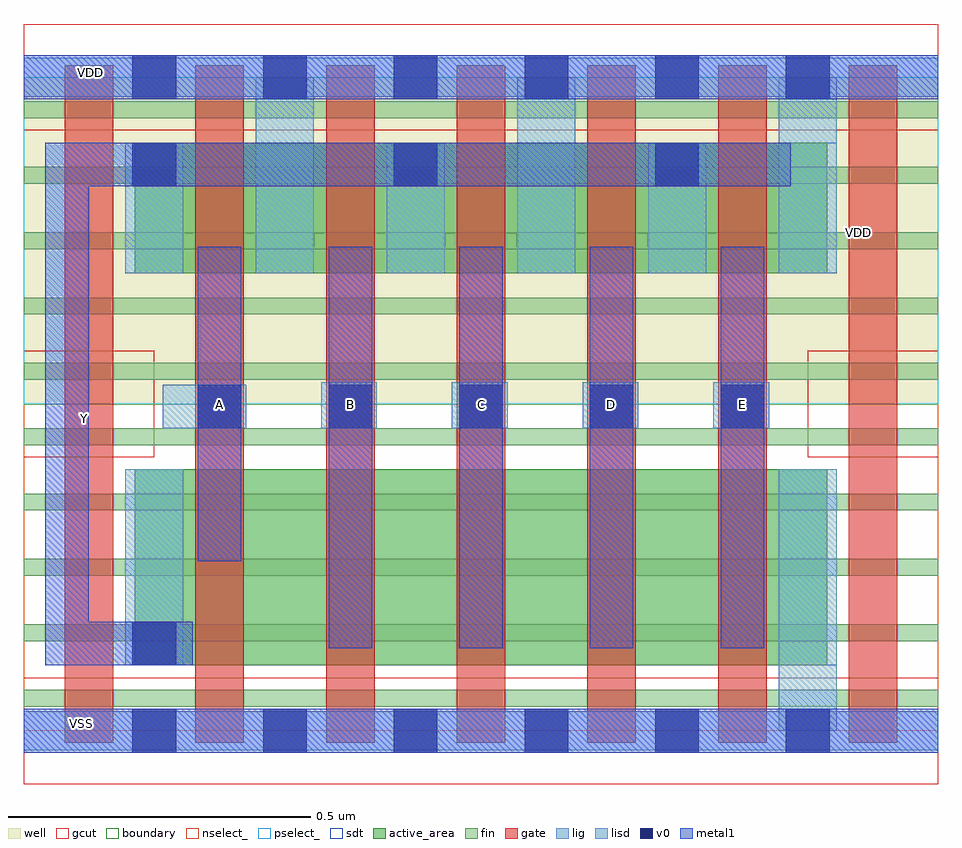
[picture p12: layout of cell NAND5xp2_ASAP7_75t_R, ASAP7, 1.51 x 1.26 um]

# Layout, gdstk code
import gdstk
lib = gdstk.Library(unit=1e-6, precision=2.5e-10)
def R(c, l, rs):  # rectangles x0, y0, x1, y1
    for r in rs: c.add(gdstk.rectangle(r[:2], r[2:], *l))
def A(c, l, x, y, w, h, nx, ny, dx, dy):  # array of equal rectangles
    R(c, l, [(x+i*dx, y+j*dy, x+i*dx+w, y+j*dy+h) for i in range(nx) for j in range(ny)])
def P(c, l, *ps):  # polygons
    for p in ps: c.add(gdstk.Polygon(p, *l))
well = (1, 0)
fin = (2, 0)
gate = (7, 0)
gcut = (10, 0)
active_area = (11, 0)
nselect_ = (12, 0)
pselect_ = (13, 0)
lig = (16, 0)
lisd = (17, 0)
v0 = (18, 0)
metal1 = (19, 0)
sdt = (88, 0)
boundary = (100, 0)

nand5xp2_asap7_75t_r = lib.new_cell('NAND5xp2_ASAP7_75t_R')
R(nand5xp2_asap7_75t_r, well, [(0,0.54,1.512,1.08)])
A(nand5xp2_asap7_75t_r, fin, 0, 0.04, 1.512, 0.028, 1, 10, 0, 0.108)
A(nand5xp2_asap7_75t_r, gate, 0.068, -0.02, 0.08, 1.12, 7, 1, 0.216, 0)
R(nand5xp2_asap7_75t_r, gcut, [(0,-0.088,1.512,0.088), (0,0.452,0.216,0.628), (1.296,0.452,1.512,0.628), (0,0.992,1.512,1.168)])
R(nand5xp2_asap7_75t_r, active_area, [(0.184,0.108,1.328,0.432), (0.184,0.756,1.328,0.972)])
R(nand5xp2_asap7_75t_r, nselect_, [(0,0,1.512,0.54)])
R(nand5xp2_asap7_75t_r, pselect_, [(0,0.54,1.512,1.08)])
A(nand5xp2_asap7_75t_r, lig, 0.492, 0.5, 0.092, 0.076, 4, 1, 0.216, 0)
R(nand5xp2_asap7_75t_r, lig, [(0,-0.032,1.512,0.032), (0.23,0.5,0.368,0.572), (0,1.048,1.512,1.112)])
A(nand5xp2_asap7_75t_r, lisd, 0.168, 0.756, 0.096, 0.216, 3, 1, 0.432, 0)
A(nand5xp2_asap7_75t_r, lisd, 0.384, 0.756, 0.096, 0.324, 3, 1, 0.432, 0)
R(nand5xp2_asap7_75t_r, lisd, [(1.248,0,1.344,0.432), (0.168,0.108,0.264,0.432)])
A(nand5xp2_asap7_75t_r, v0, 0.18, -0.036, 0.072, 0.072, 6, 2, 0.216, 1.08)
A(nand5xp2_asap7_75t_r, v0, 0.288, 0.5, 0.072, 0.072, 5, 1, 0.216, 0)
A(nand5xp2_asap7_75t_r, v0, 0.18, 0.9, 0.072, 0.072, 3, 1, 0.432, 0)
R(nand5xp2_asap7_75t_r, v0, [(0.18,0.108,0.252,0.18)])
A(nand5xp2_asap7_75t_r, metal1, 0.504, 0.136, 0.072, 0.664, 4, 1, 0.216, 0)
R(nand5xp2_asap7_75t_r, metal1, [(0,-0.036,1.512,0.036), (0.288,0.28,0.36,0.8), (0,1.044,1.512,1.116)])
P(nand5xp2_asap7_75t_r, metal1, [(0.036,0.108),(0.036,0.972),(1.268,0.972),(1.268,0.9),(0.108,0.9),(0.108,0.18),(0.28,0.18),(0.28,0.108)])
A(nand5xp2_asap7_75t_r, sdt, 0.168, 0.756, 0.096, 0.216, 6, 1, 0.216, 0)
R(nand5xp2_asap7_75t_r, sdt, [(0.168,0.108,0.264,0.432), (1.248,0.108,1.344,0.432)])
R(nand5xp2_asap7_75t_r, boundary, [(0,0,1.512,1.08)])
nand5xp2_asap7_75t_r.add(gdstk.Label('B', (0.54,0.54), layer=19, texttype=251))
nand5xp2_asap7_75t_r.add(gdstk.Label('A', (0.324,0.54), layer=19, texttype=251))
nand5xp2_asap7_75t_r.add(gdstk.Label('C', (0.756,0.54), layer=19, texttype=251))
nand5xp2_asap7_75t_r.add(gdstk.Label('VDD', (0.11,1.088), layer=19, texttype=251))
nand5xp2_asap7_75t_r.add(gdstk.Label('VSS', (0.096,0.012), layer=19, texttype=251))
nand5xp2_asap7_75t_r.add(gdstk.Label('D', (0.972,0.54), layer=19, texttype=251))
nand5xp2_asap7_75t_r.add(gdstk.Label('E', (1.188,0.54), layer=19, texttype=251))
nand5xp2_asap7_75t_r.add(gdstk.Label('Y', (0.1,0.516), layer=19, texttype=251))
nand5xp2_asap7_75t_r.add(gdstk.Label('VDD', (1.38,0.824), layer=1, texttype=251))
nand5xp2_asap7_75t_r.add(gdstk.Label('VSS', (1.656,0.82), layer=3, texttype=251))

lib.write_gds('NAND5xp2_ASAP7_75t_R.gds')
